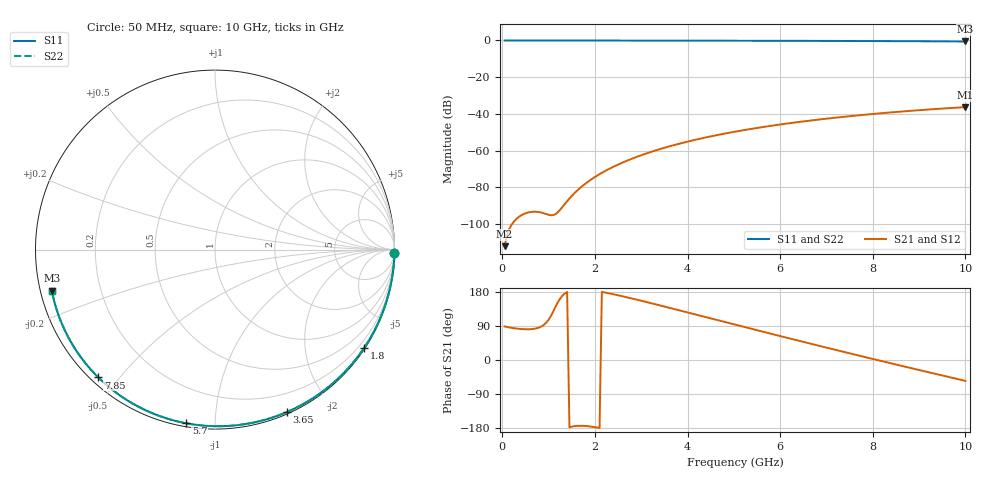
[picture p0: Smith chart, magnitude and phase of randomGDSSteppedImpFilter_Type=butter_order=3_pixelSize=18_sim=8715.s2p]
! freq	dB(S11)	phase(S11)	dB(S12)	phase(S12)
!  dB(S21)	phase(S21)	dB(S22)	phase(S22)
!S-par simulation data
#  GHz  S  DB  R 50
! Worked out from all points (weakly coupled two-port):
!   200 points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, 50 MHz to 10 GHz, reference 50 ohm
!   highest |S21| = -36.35 dB at 10 GHz (marker M1); lowest = -112.1 dB at 50 MHz (marker M2)
!   lowest |S11| = -0.6 dB at 10 GHz (marker M3), VSWR 31.08, Z = 1.63 - j6.2 ohm
!   |S11| at or under -10 dB: nowhere
!   |S22| runs from -0.6 to 0.0 dB; largest |S21 - S12| = 0
!   S11 on the Smith chart (normalised r, x): 50 MHz: open; 1.8 GHz: 0.03, -3.33; 3.65 GHz: 0.02, -1.54; 5.7 GHz: 0.02, -0.85; 7.85 GHz: 0.02, -0.44; 10 GHz: 0.03, -0.12
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0.05  -0.00 -0.9  -112.14 88.6  -112.14 88.6  -0.00 -0.9
0.45  -0.01 -8.5  -94.78 81.4  -94.78 81.4  -0.01 -8.5
0.85  -0.02 -16.0  -93.87 88.9  -93.87 88.9  -0.02 -16.0
1.65  -0.04 -30.7  -81.05 -173.6  -81.05 -173.6  -0.04 -30.7
1.7  -0.04 -31.6  -79.96 -173.6  -79.96 -173.6  -0.04 -31.6
1.75  -0.04 -32.6  -78.92 -173.8  -78.92 -173.8  -0.04 -32.6
1.8  -0.04 -33.5  -77.94 -174.2  -77.94 -174.2  -0.04 -33.5
2.1  -0.05 -38.9  -72.88 -179.2  -72.88 -179.2  -0.05 -38.9
2.3  -0.05 -42.5  -70.10 176.1  -70.10 176.1  -0.05 -42.5
2.5  -0.06 -46.0  -67.65 170.8  -67.65 170.8  -0.06 -46.0
2.9  -0.07 -53.1  -63.48 159.4  -63.48 159.4  -0.07 -53.1
3.4  -0.08 -61.8  -59.26 144.2  -59.26 144.2  -0.08 -61.8
3.65  -0.09 -66.0  -57.44 136.5  -57.44 136.5  -0.09 -66.0
4.3  -0.11 -76.9  -53.39 116.2  -53.39 116.2  -0.11 -76.9
5.05  -0.14 -89.1  -49.61 92.6  -49.61 92.6  -0.14 -89.1
5.7  -0.17 -99.4  -46.91 72.4  -46.91 72.4  -0.17 -99.4
6.7  -0.23 -114.9  -43.51 41.7  -43.51 41.7  -0.23 -114.9
7.25  -0.27 -123.3  -41.94 25.1  -41.94 25.1  -0.27 -123.3
7.85  -0.32 -132.4  -40.43 7.2  -40.43 7.2  -0.32 -132.4
8.35  -0.36 -140.0  -39.30 -7.5  -39.30 -7.5  -0.36 -140.0
9.2  -0.46 -153.1  -37.65 -32.2  -37.65 -32.2  -0.46 -153.1
10  -0.56 -165.8  -36.35 -55.1  -36.35 -55.1  -0.56 -165.8
